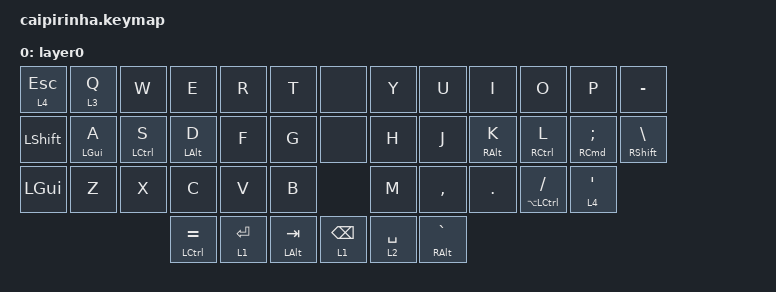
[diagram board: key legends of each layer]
/*
 * Copyright (c) 2020 The ZMK Contributors
 *
 * SPDX-License-Identifier: MIT
 */

#include <behaviors.dtsi>
#include <dt-bindings/zmk/keys.h>

/ {
    behaviors {
        hm: homerow_mods {
            compatible = "zmk,behavior-hold-tap";
            label = "HOMEROW_MODS";
            bindings = <&kp>, <&kp>;

            #binding-cells = <2>;
            tapping-term-ms = <200>;
            flavor = "tap-preferred";
            require-prior-idle-ms = <125>;
            quick-tap-ms = <200>;
        };

        shifthr: shifthr {
            compatible = "zmk,behavior-hold-tap";
            label = "SHIFTHR";
            bindings = <&kp>, <&kp>;

            #binding-cells = <2>;
            tapping-term-ms = <185>;
            flavor = "tap-preferred";
            quick-tap-ms = <185>;
        };

        weak: weak {
            compatible = "zmk,behavior-hold-tap";
            label = "WEAK";
            bindings = <&kp>, <&kp>;

            #binding-cells = <2>;
            tapping-term-ms = <230>;
            flavor = "tap-preferred";
            require-prior-idle-ms = <125>;
            quick-tap-ms = <230>;
        };
    };

    keymap {
        compatible = "zmk,keymap";

        layer0 {
            bindings = <
&lt 4 ESCAPE    &lt 3 Q           &kp W                 &kp E                   &kp R                       &kp T           &none            &kp Y            &kp U        &kp I           &kp O                  &kp P                          &kp MINUS
&kp LEFT_SHIFT  &weak LEFT_GUI A  &weak LEFT_CONTROL S  &weak LEFT_ALT D        &kp F                       &kp G           &none            &kp H            &kp J        &weak RALT K    &weak RIGHT_CONTROL L  &weak RIGHT_COMMAND SEMICOLON  &weak RSHFT BACKSLASH
&kp LEFT_GUI    &kp Z             &kp X                 &kp C                   &kp V                       &kp B                            &kp M            &kp COMMA    &kp DOT         &mt LA(LCTRL) SLASH    &lt 4 SQT
                                                                &mt LEFT_CONTROL EQUAL      &lt 1 ENTER    &mt LALT TAB     &lt 1 BACKSPACE  &lt 2 SPACE  &mt RALT GRAVE
            >;
        };

    };
};
